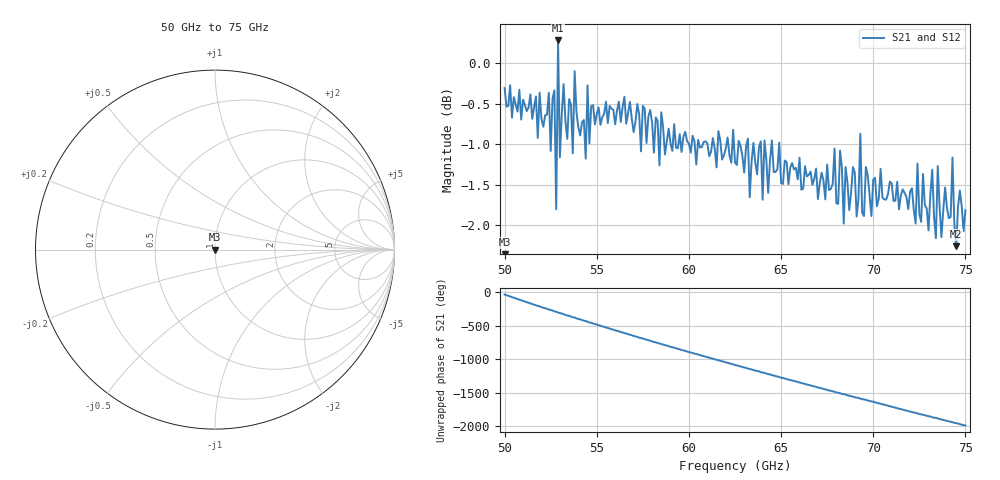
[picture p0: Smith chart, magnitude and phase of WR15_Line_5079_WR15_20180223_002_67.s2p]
# GHZ S RI R 50
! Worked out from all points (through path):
!   251 points, 50 GHz to 75 GHz, reference 50 ohm
!   highest |S21| = 0.28 dB at 52.9 GHz (marker M1); lowest = -2.3 dB at 74.5 GHz (marker M2)
!   lowest |S11| = - dB at 50 GHz (marker M3), VSWR 1.00, Z = 50 - j4.77e-15 ohm
!   |S11| at or under -10 dB: start of sweep to end of sweep
!   |S22| runs from - to - dB; largest |S21 - S12| = 1.4e-15
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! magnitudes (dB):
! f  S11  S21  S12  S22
! 50 GHz  -  -0.3  -0.3  -
! 52.4 GHz  -  -0.4  -0.4  -
! 52.5 GHz  -  -1.1  -1.1  -
! 52.7 GHz  -  -0.3  -0.3  -
! 52.8 GHz  -  -1.8  -1.8  -
! 52.9 GHz  -  0.3  0.3  -
! 53 GHz  -  -1.2  -1.2  -
! 53.2 GHz  -  -0.3  -0.3  -
! 54.2 GHz  -  -0.7  -0.7  -
! 58.4 GHz  -  -1.3  -1.3  -
! 58.5 GHz  -  -0.6  -0.6  -
! 62.5 GHz  -  -1.2  -1.2  -
! 66.7 GHz  -  -1.5  -1.5  -
! 70.9 GHz  -  -1.5  -1.5  -
! 73 GHz  -  -2.1  -2.1  -
! 73.2 GHz  -  -1.3  -1.3  -
! 73.4 GHz  -  -2.2  -2.2  -
! 73.5 GHz  -  -1.3  -1.3  -
! 73.7 GHz  -  -2.1  -2.1  -
! 74.3 GHz  -  -1.2  -1.2  -
! 74.5 GHz  -  -2.3  -2.3  -
! 75 GHz  -  -1.8  -1.8  -
